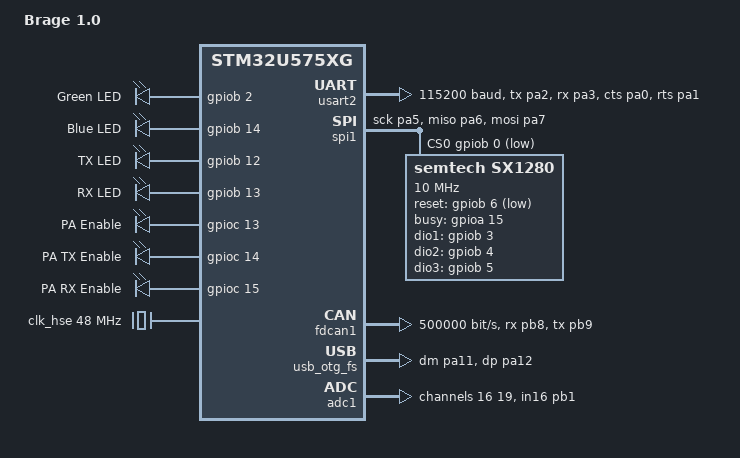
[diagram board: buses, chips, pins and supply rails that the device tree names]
/*
 * Copyright (c) 2024
 * SPDX-License-Identifier: Apache-2.0
 */

/dts-v1/;
#include <st/u5/stm32u575Xg.dtsi>
#include <st/u5/stm32u575cgtx-pinctrl.dtsi>

/ {
	model = "Brage 1.0";
	compatible = "brage,brage-v1";

	chosen {
		zephyr,console = &usart2;
		zephyr,shell-uart = &usart2;
		zephyr,sram = &sram0;
		zephyr,flash = &flash0;
		zephyr,canbus = &fdcan1;
	};

	leds {
		compatible = "gpio-leds";
		led_g: led_green {
			gpios = <&gpiob 2 GPIO_ACTIVE_HIGH>;
			label = "Green LED";
		};
		led_b: led_blue {
			gpios = <&gpiob 14 GPIO_ACTIVE_HIGH>;
			label = "Blue LED";
		};
		led_tx: led_tx {
			gpios = <&gpiob 12 GPIO_ACTIVE_HIGH>;
			label = "TX LED";
		};
		led_rx: led_rx {
			gpios = <&gpiob 13 GPIO_ACTIVE_HIGH>;
			label = "RX LED";
		};
	};


	/* PA control pins */
	pa_control {
		compatible = "gpio-leds";
		pa_enable: pa_en {
			gpios = <&gpioc 13 GPIO_ACTIVE_HIGH>;
			label = "PA Enable";
		};
		pa_tx_enable: pa_tx_en {
			gpios = <&gpioc 14 GPIO_ACTIVE_HIGH>;
			label = "PA TX Enable";
		};
		pa_rx_enable: pa_rx_en {
			gpios = <&gpioc 15 GPIO_ACTIVE_HIGH>;
			label = "PA RX Enable";
		};
	};

	aliases {
		led0 = &led_g;
		led1 = &led_b;
		led-tx = &led_tx;
		led-rx = &led_rx;
		pa-en = &pa_enable;
		pa-tx-en = &pa_tx_enable;
		pa-rx-en = &pa_rx_enable;
		lora0 = &lora_sx1280;
		therm = &adc1;
	};
};

&clk_hsi {
	status = "okay";
};

&clk_hse {
	status = "okay";
	clock-frequency = <DT_FREQ_M(48)>;
};

&pll1 {
	status = "okay";
	div-m = <3>;
	mul-n = <10>;
	div-p = <2>;
	div-q = <2>;
	div-r = <1>;
	clocks = <&clk_hse>;
};

&rcc {
	clocks = <&pll1>;
	clock-frequency = <DT_FREQ_M(160)>;
	ahb-prescaler = <1>;
	apb1-prescaler = <1>;
	apb2-prescaler = <1>;
	apb3-prescaler = <1>;
};

/* UART for console and general communication */
&usart2 {
	status = "okay";
	pinctrl-0 = <&usart2_tx_pa2 &usart2_rx_pa3 
		     &usart2_cts_pa0 &usart2_rts_pa1>;
	pinctrl-names = "default";
	current-speed = <115200>;
	hw-flow-control;
};

/* SPI1 for SX1280 LoRa Module */
&spi1 {
	status = "okay";
	pinctrl-0 = <&spi1_sck_pa5 &spi1_miso_pa6 &spi1_mosi_pa7>;
	pinctrl-names = "default";
	cs-gpios = <&gpiob 0 (GPIO_ACTIVE_LOW | GPIO_PULL_UP)>;
	
	lora_sx1280: sx1280@0 {
		compatible = "semtech,sx1280";
		reg = <0>;
		spi-max-frequency = <DT_FREQ_M(10)>;
		reset-gpios = <&gpiob 6 GPIO_ACTIVE_LOW>;
		busy-gpios = <&gpioa 15 GPIO_ACTIVE_HIGH>;
		dio1-gpios = <&gpiob 3 GPIO_ACTIVE_HIGH>;
		dio2-gpios = <&gpiob 4 GPIO_ACTIVE_HIGH>;
		dio3-gpios = <&gpiob 5 GPIO_ACTIVE_HIGH>;
		label = "SX1280";
	};
};

/* CAN-FD interface */
&fdcan1 {
	status = "okay";
	pinctrl-0 = <&fdcan1_rx_pb8 &fdcan1_tx_pb9>;
	pinctrl-names = "default";
	bus-speed = <500000>;
	bus-speed-data = <1000000>;
	sample-point = <875>;
	sample-point-data = <875>;
};

/* USB OTG FS */
&usb_otg_fs {
	status = "okay";
	pinctrl-0 = <&usb_otg_fs_dm_pa11 &usb_otg_fs_dp_pa12>;
	pinctrl-names = "default";
};

/* ADC1 for temperature sensor (thermistor on PB1) */
&adc1 {
	status = "okay";
	pinctrl-0 = <&adc1_in16_pb1>;
	pinctrl-names = "default";
	#address-cells = <1>;
	#size-cells = <0>;
	st,adc-clock-source = "ASYNC";
	st,adc-prescaler = <1>;

	channel@16 {
		reg = <16>;
		zephyr,gain = "ADC_GAIN_1";
		zephyr,reference = "ADC_REF_INTERNAL";
		zephyr,acquisition-time = <ADC_ACQ_TIME_DEFAULT>;
		zephyr,resolution = <12>;
	};
	
	/* Internal temperature sensor */
	channel@19 {
		reg = <19>;
		zephyr,gain = "ADC_GAIN_1";
		zephyr,reference = "ADC_REF_INTERNAL";
		zephyr,acquisition-time = <ADC_ACQ_TIME_DEFAULT>;
		zephyr,resolution = <12>;
	};
};

/* GPIO configurations for standalone pins */
&gpioa {
	status = "okay";
	
};

&gpiob {
	status = "okay";
	
	
};

&gpioc {
	status = "okay";
};

&gpioh {
	status = "okay";
};

/* Flash partitions */
&flash0 {
	partitions {
		compatible = "fixed-partitions";
		#address-cells = <1>;
		#size-cells = <1>;

		/* Bootloader partition - 64KB */
		boot_partition: partition@0 {
			label = "mcuboot";
			reg = <0x00000000 DT_SIZE_K(64)>;
			read-only;
		};

		/* Application partition - 448KB */
		slot0_partition: partition@10000 {
			label = "image-0";
			reg = <0x00010000 DT_SIZE_K(448)>;
		};

		/* Update partition - 448KB */
		slot1_partition: partition@80000 {
			label = "image-1";
			reg = <0x00080000 DT_SIZE_K(448)>;
		};

		/* Storage partition - 64KB */
		storage_partition: partition@f0000 {
			label = "storage";
			reg = <0x000f0000 DT_SIZE_K(64)>;
		};
	};
};
